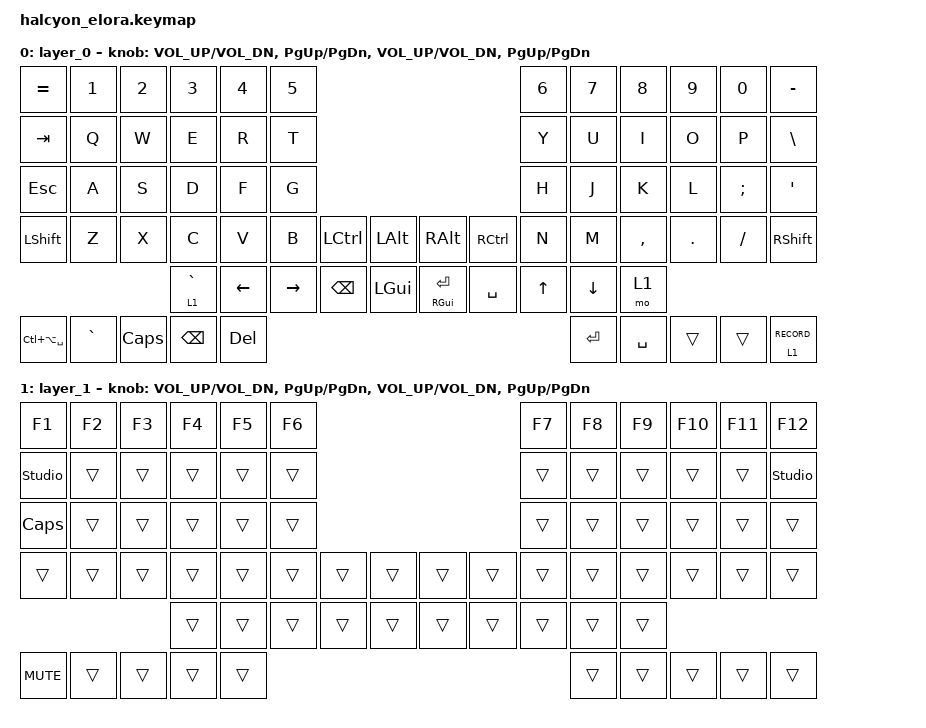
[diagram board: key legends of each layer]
#include <behaviors.dtsi>
#include <dt-bindings/zmk/keys.h>

/ {
    keymap {
        compatible = "zmk,keymap";

        layer_0 {
            bindings = <
&kp EQUAL       &kp N1     &kp N2        &kp N3       &kp N4          &kp N5                                                         &kp N6        &kp N7    &kp N8       &kp N9   &kp N0    &kp MINUS
&kp TAB         &kp Q      &kp W         &kp E        &kp R           &kp T                                                          &kp Y         &kp U     &kp I        &kp O    &kp P     &kp BSLH
&kp ESC         &kp A      &kp S         &kp D        &kp F           &kp G                                                          &kp H         &kp J     &kp K        &kp L    &kp SEMI  &kp SQT
&kp LSHFT       &kp Z      &kp X         &kp C        &kp V           &kp B            &kp LCTRL      &kp LALT  &kp RALT        &kp RCTRL  &kp N         &kp M     &kp COMMA    &kp DOT  &kp FSLH  &kp RSHFT
                                         &lt 1 GRAVE  &kp LEFT_ARROW  &kp RIGHT_ARROW  &kp BACKSPACE  &kp LGUI  &mt RGUI ENTER  &kp SPACE  &kp UP_ARROW  &kp DOWN  &mo 1
&kp LC(LA(SPACE))  &kp GRAVE  &kp CAPSLOCK  &kp BSPC     &kp DEL                                                                                            &kp RET   &kp SPACE    &trans   &trans    &lt 1 C_RECORD
            >;
            sensor-bindings = <&inc_dec_kp C_VOL_UP C_VOL_DN &inc_dec_kp PG_UP PG_DN &inc_dec_kp C_VOL_UP C_VOL_DN &inc_dec_kp PG_UP PG_DN>;
        };

        layer_1 {
            bindings = <
&kp F1          &kp F2  &kp F3  &kp F4  &kp F5  &kp F6                                  &kp F7  &kp F8  &kp F9  &kp F10  &kp F11  &kp F12
&studio_unlock  &trans  &trans  &trans  &trans  &trans                                  &trans  &trans  &trans  &trans   &trans   &studio_unlock
&kp CAPSLOCK    &trans  &trans  &trans  &trans  &trans                                  &trans  &trans  &trans  &trans   &trans   &trans
&trans          &trans  &trans  &trans  &trans  &trans  &trans  &trans  &trans  &trans  &trans  &trans  &trans  &trans   &trans   &trans
                                &trans  &trans  &trans  &trans  &trans  &trans  &trans  &trans  &trans  &trans
&kp C_MUTE      &trans  &trans  &trans  &trans                                                  &trans  &trans  &trans   &trans   &trans
            >;
            sensor-bindings = <&inc_dec_kp C_VOL_UP C_VOL_DN &inc_dec_kp PG_UP PG_DN &inc_dec_kp C_VOL_UP C_VOL_DN &inc_dec_kp PG_UP PG_DN>;
        };
    };
};
